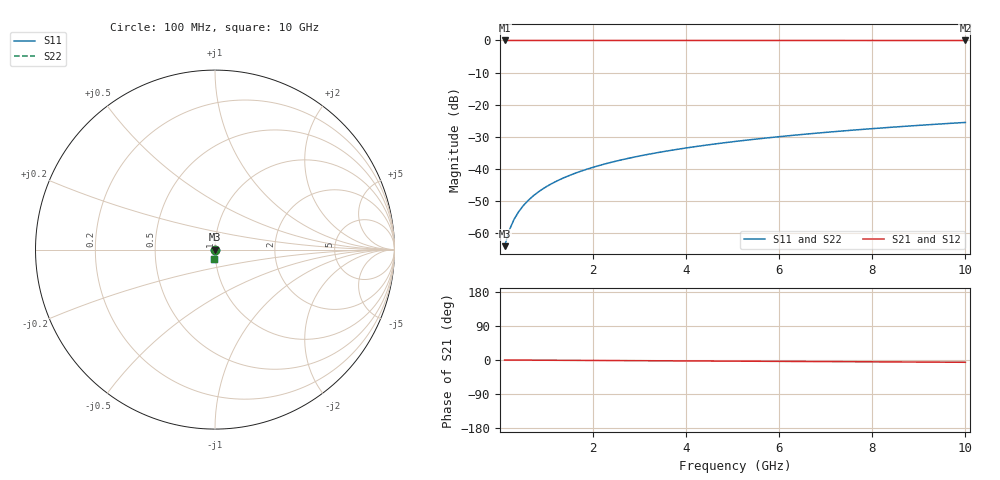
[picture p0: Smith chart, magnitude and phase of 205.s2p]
# Hz S RI R 50.00
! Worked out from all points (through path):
!   100 points, 100 MHz to 10 GHz, reference 50 ohm
!   highest |S21| = 0.00 dB at 100 MHz (marker M1); lowest = 0.0 dB at 10 GHz (marker M2)
!   lowest |S11| = -64.1 dB at 100 MHz (marker M3), VSWR 1.00, Z = 50 - j0.0529 ohm
!   |S11| at or under -10 dB: start of sweep to end of sweep
!   |S22| runs from -64.1 to -25.5 dB; largest |S21 - S12| = 0
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1e8  0.000333 -0.000528  0.9997 -0.00105  0.9997 -0.00105  0.000333 -0.000528
2e8  0.000332 -0.00106  0.9997 -0.0021  0.9997 -0.0021  0.000332 -0.00106
3e8  0.000331 -0.00159  0.9997 -0.00314  0.9997 -0.00314  0.000331 -0.00159
4e8  0.000327 -0.00211  0.9996 -0.00419  0.9996 -0.00419  0.000327 -0.00211
5e8  0.000323 -0.00264  0.9996 -0.00524  0.9996 -0.00524  0.000323 -0.00264
6e8  0.000317 -0.00317  0.9996 -0.00629  0.9996 -0.00629  0.000317 -0.00317
7e8  0.00031 -0.0037  0.9996 -0.00734  0.9996 -0.00734  0.00031 -0.0037
8e8  0.000302 -0.00423  0.9996 -0.00838  0.9996 -0.00838  0.000302 -0.00423
9e8  0.000292 -0.00476  0.9996 -0.00943  0.9996 -0.00943  0.000292 -0.00476
1.1e9  0.00027 -0.00581  0.9996 -0.0115  0.9996 -0.0115  0.00027 -0.00581
1.4e9  0.000228 -0.0074  0.9995 -0.0147  0.9995 -0.0147  0.000228 -0.0074
1.8e9  0.000157 -0.00951  0.9994 -0.0189  0.9994 -0.0189  0.000157 -0.00951
2.1e9  9.14e-05 -0.0111  0.9993 -0.022  0.9993 -0.022  9.14e-05 -0.0111
2.5e9  -1.15e-05 -0.0132  0.9992 -0.0262  0.9992 -0.0262  -1.15e-05 -0.0132
2.9e9  -0.000132 -0.0153  0.999 -0.0304  0.999 -0.0304  -0.000132 -0.0153
3.4e9  -0.000308 -0.018  0.9988 -0.0356  0.9988 -0.0356  -0.000308 -0.018
4.2e9  -0.000648 -0.0222  0.9984 -0.044  0.9984 -0.044  -0.000648 -0.0222
5.1e9  -0.00111 -0.0269  0.9978 -0.0534  0.9978 -0.0534  -0.00111 -0.0269
5.9e9  -0.00161 -0.0311  0.9972 -0.0618  0.9972 -0.0618  -0.00161 -0.0311
6.7e9  -0.00217 -0.0353  0.9965 -0.0702  0.9965 -0.0702  -0.00217 -0.0353
8.4e9  -0.00359 -0.0442  0.9947 -0.088  0.9947 -0.088  -0.00359 -0.0442
1e10  -0.00523 -0.0526  0.9926 -0.1046  0.9926 -0.1046  -0.00523 -0.0526
